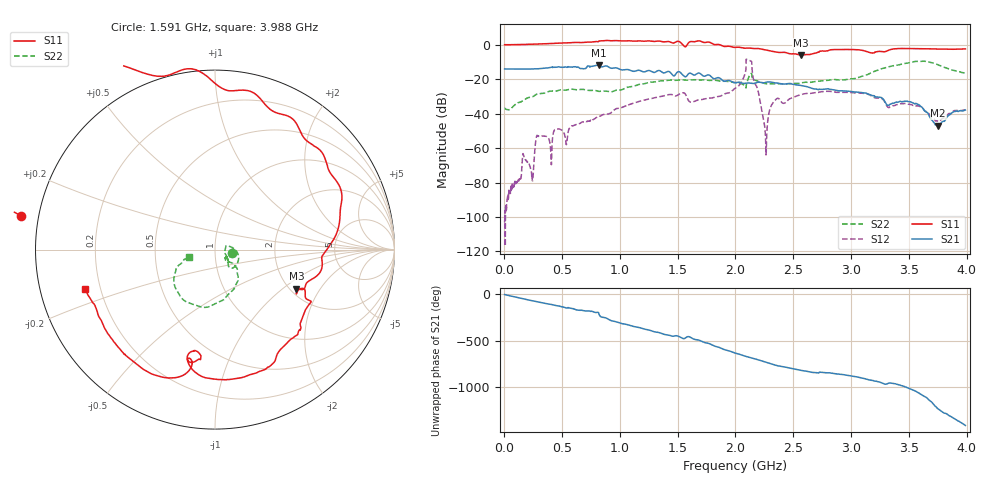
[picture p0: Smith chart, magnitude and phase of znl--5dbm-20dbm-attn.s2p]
#  HZ  S  RI  R  50.00
! Rohde & Schwarz Vector Network Analyzer
! Rohde-Schwarz,ZNL20-2Port,1323001220101312,1.72.1.6-23.02.1.246
! Created: UTC 10/23/2024, 9:25:59 PM
! freq[Hz]  re:S11  im:S11  re:S21  im:S21  re:S12  im:S12  re:S22  im:S22
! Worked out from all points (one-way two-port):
!   2000 points, 3.9 MHz to 3.99 GHz, reference 50 ohm
!   highest |S21| = -11.86 dB at 819.4 MHz (marker M1); lowest = -47.0 dB at 3.754 GHz (marker M2)
!   lowest |S11| = -6.0 dB at 2.568 GHz (marker M3), VSWR 3.03, Z = 108 - j63.1 ohm
!   |S11| at or under -10 dB: nowhere
!   |S22| runs from -37.8 to -9.6 dB; largest |S21 - S12| = 0.4
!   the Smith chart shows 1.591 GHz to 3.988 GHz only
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3900000  1.002 -0.00463  0.1984 -0.0029  5.4e-06 4.41e-06  0.014 0.000566
1.275216e8  0.9925 -0.1831  0.1578 -0.1169  -4.32e-06 0.000123  0.0161 0.0137
1.753751e8  0.9872 -0.2554  0.1254 -0.15  -0.000542 1.26e-05  0.0202 0.0147
2.391798e8  0.9687 -0.3547  0.0782 -0.1813  -5.16e-06 0.000138  0.0236 0.019
2.95009e8  0.9523 -0.4379  0.0305 -0.1982  -0.0022 -0.000609  0.0302 0.0215
4.006855e8  0.8916 -0.611  -0.0577 -0.2118  -0.00031 0.000968  0.0388 0.0231
4.465451e8  0.8598 -0.6918  -0.1079 -0.1939  -0.00294 0.002  0.0405 0.0192
6.698616e8  0.5481 -1.019  -0.2006 -0.0365  9.2e-05 0.00559  0.0496 0.0104
8.194039e8  0.2678 -1.241  -0.2232 0.1238  0.0071 0.00461  0.0433 0.00926
1.333829e9  -1.227 -0.374  0.1194 -0.1323  -0.0222 -0.0211  0.0862 0.0151
1.62095e9  -1.168 0.4069  -0.0435 -0.1365  -0.0146 0.0158  0.0929 -0.0229
1.766505e9  -0.6135 1.024  -0.1292 -0.0337  -0.00593 0.0275  0.0854 -0.0346
1.997797e9  0.34 0.763  5.81e-05 0.0784  0.0427 0.0328  0.0675 -0.0428
2.121419e9  0.6057 0.5251  0.0555 0.0539  0.1907 -0.2969  0.125 -0.0182
2.260991e9  0.6943 0.1588  0.0796 -0.0113  -0.0017 -0.000868  0.0554 -0.0493
2.344735e9  0.618 -0.00702  0.0602 -0.0499  0.0176 -0.0171  0.0593 -0.0432
2.568051e9  0.454 -0.2183  -0.00728 -0.0652  0.0131 -0.0329  0.0642 -0.0446
2.661765e9  0.4938 -0.2177  -0.0251 -0.0482  0.0043 -0.0391  0.0663 -0.0484
3.325732e9  -0.1475 -0.6769  -0.0102 0.0141  -0.00676 0.0133  0.1152 -0.1975
3.576963e9  -0.5193 -0.5668  0.0168 0.00849  0.0153 0.00731  -0.0893 -0.3162
3.75442e9  -0.6257 -0.4118  -0.00389 -0.00216  -0.00508 -0.00296  -0.2225 -0.1329
3.9897e9  -0.7226 -0.2176  0.0109 0.00666  0.011 0.00654  -0.1454 -0.039
